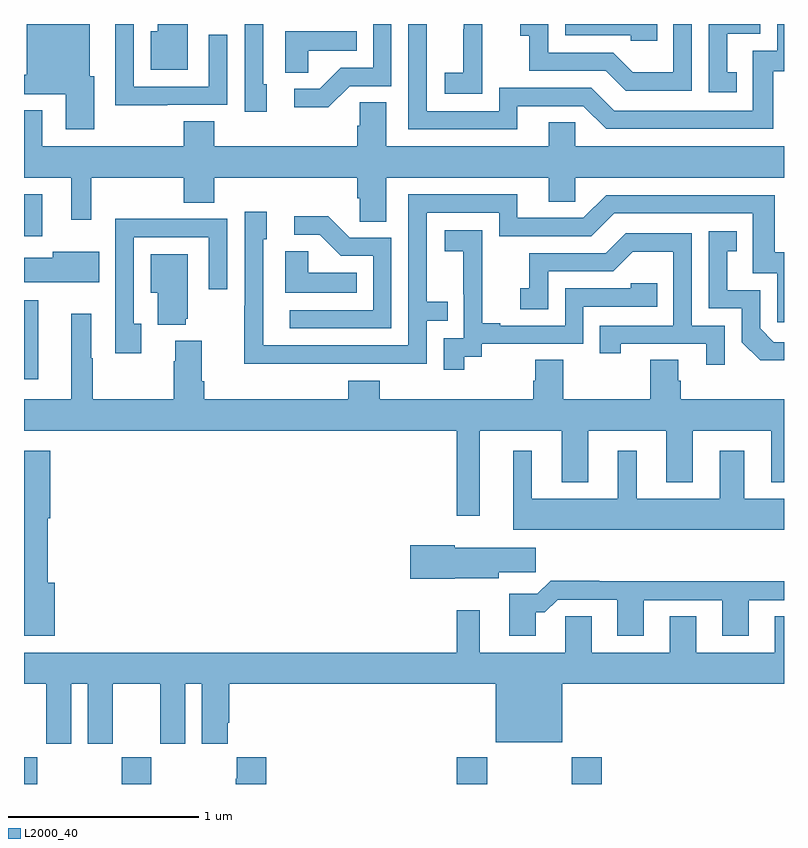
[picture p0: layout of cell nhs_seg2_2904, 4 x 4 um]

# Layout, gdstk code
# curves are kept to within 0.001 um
import gdstk
lib = gdstk.Library(unit=1e-6, precision=1e-09)
def R(c, l, rs):  # rectangles x0, y0, x1, y1
    for r in rs: c.add(gdstk.rectangle(r[:2], r[2:], *l))
def P(c, l, *ps):  # polygons
    for p in ps: c.add(gdstk.Polygon(p, *l))
L2000_40 = (2000, 40)

nhs_seg2_2904 = lib.new_cell('nhs_seg2_2904')
R(nhs_seg2_2904, L2000_40, [(263,621.8,263.07,621.94), (263.515,621.8,263.67,621.94), (265.277,621.8,265.437,621.94), (265.882,621.8,266.042,621.94), (263,623.931,263.074,624.346), (263,624.683,263.095,624.904)])
P(nhs_seg2_2904, L2000_40, [(266.75,625.545),(266.701,625.545),(266.701,625.749),(266.874,625.749),(266.874,625.8),(266.604,625.8),(266.604,625.44),(266.75,625.44)],
  [(263.863,625.8),(263.705,625.8),(263.705,625.762),(263.666,625.762),(263.666,625.559),(263.863,625.559)],
  [(266.333,625.8),(265.848,625.8),(265.848,625.74),(266.193,625.74),(266.193,625.713),(266.333,625.713)],
  [(265.413,625.639),(265.412,625.639),(265.412,625.8),(265.314,625.8),(265.314,625.772),(265.313,625.772),(265.313,625.543),(265.215,625.543),(265.215,625.433),(265.413,625.433)],
  [(266.514,625.8),(266.418,625.8),(266.418,625.546),(266.204,625.546),(266.1,625.65),(265.758,625.65),(265.758,625.8),(265.611,625.8),(265.611,625.739),(265.66,625.739),(265.66,625.554),(266.063,625.554),(266.168,625.449),(266.514,625.449)],
  [(265.597,625.368),(265.944,625.368),(266.064,625.248),(266.944,625.248),(266.944,625.551),(267,625.551),(267,625.8),(266.964,625.8),(266.964,625.659),(266.835,625.659),(266.835,625.344),(266.106,625.344),(265.986,625.464),(265.5,625.464),(265.5,625.341),(265.119,625.341),(265.119,625.8),(265.023,625.8),(265.023,625.245),(265.597,625.245)],
  [(263.371,625.524),(263.347,625.524),(263.347,625.8),(263.015,625.8),(263.015,625.532),(263,625.532),(263,625.431),(263.219,625.431),(263.219,625.245),(263.371,625.245)],
  [(263.753,625.374),(264.069,625.374),(264.069,625.744),(263.973,625.744),(263.973,625.47),(263.577,625.47),(263.577,625.8),(263.48,625.8),(263.48,625.624),(263.481,625.624),(263.481,625.373),(263.753,625.373)],
  [(264.714,625.473),(264.933,625.473),(264.933,625.8),(264.837,625.8),(264.837,625.569),(264.668,625.569),(264.557,625.458),(264.423,625.458),(264.423,625.361),(264.601,625.361)],
  [(264.277,625.482),(264.258,625.482),(264.258,625.8),(264.162,625.8),(264.162,625.338),(264.277,625.338)],
  [(264.495,625.658),(264.752,625.658),(264.752,625.762),(264.374,625.762),(264.374,625.543),(264.495,625.543)],
  [(264.907,624.992),(265.763,624.992),(265.763,624.865),(265.902,624.865),(265.902,624.992),(267,624.992),(267,625.156),(265.902,625.156),(265.902,625.283),(265.763,625.283),(265.763,625.156),(264.907,625.156),(264.907,625.388),(264.768,625.388),(264.768,625.265),(264.755,625.265),(264.755,625.156),(264.002,625.156),(264.002,625.289),(263.842,625.289),(263.842,625.156),(263.095,625.156),(263.095,625.346),(263,625.346),(263,624.992),(263.249,624.992),(263.249,624.771),(263.353,624.771),(263.353,624.992),(263.842,624.992),(263.842,624.859),(264.002,624.859),(264.002,624.992),(264.755,624.992),(264.755,624.883),(264.768,624.883),(264.768,624.76),(264.907,624.76)],
  [(264.623,624.012),(265.119,624.012),(265.119,624.237),(265.229,624.237),(265.229,624.338),(265.119,624.338),(265.119,624.807),(265.5,624.807),(265.5,624.684),(265.986,624.684),(266.106,624.804),(266.835,624.804),(266.835,624.489),(266.964,624.489),(266.964,624.231),(267,624.231),(267,624.598),(266.951,624.598),(266.951,624.9),(266.064,624.9),(265.944,624.78),(265.597,624.78),(265.597,624.903),(265.023,624.903),(265.023,624.108),(264.258,624.108),(264.258,624.666),(264.277,624.666),(264.277,624.811),(264.162,624.811),(264.162,624.317),(264.16,624.317),(264.16,624.011)],
  [(264.933,624.675),(264.714,624.675),(264.601,624.788),(264.423,624.788),(264.423,624.69),(264.557,624.69),(264.668,624.579),(264.837,624.579),(264.837,624.294),(264.399,624.294),(264.399,624.198),(264.933,624.198)],
  [(263.617,624.222),(263.577,624.222),(263.577,624.678),(263.973,624.678),(263.973,624.405),(264.069,624.405),(264.069,624.774),(263.753,624.774),(263.753,624.776),(263.481,624.776),(263.481,624.066),(263.617,624.066)],
  [(265.318,624.049),(265.41,624.049),(265.41,624.117),(265.944,624.117),(265.944,624.312),(266.333,624.312),(266.333,624.435),(266.193,624.435),(266.193,624.408),(265.848,624.408),(265.848,624.213),(265.507,624.213),(265.507,624.226),(265.412,624.226),(265.412,624.509),(265.413,624.509),(265.413,624.715),(265.215,624.715),(265.215,624.605),(265.313,624.605),(265.313,624.377),(265.314,624.377),(265.314,624.147),(265.209,624.147),(265.209,623.979),(265.318,623.979)],
  [(267,624.126),(266.946,624.126),(266.874,624.198),(266.874,624.399),(266.701,624.399),(266.701,624.603),(266.75,624.603),(266.75,624.709),(266.604,624.709),(266.604,624.303),(266.778,624.303),(266.778,624.126),(266.876,624.029),(267,624.029)],
  [(266.688,624.213),(266.514,624.213),(266.514,624.699),(266.168,624.699),(266.063,624.594),(265.66,624.594),(265.66,624.409),(265.611,624.409),(265.611,624.3),(265.758,624.3),(265.758,624.498),(266.1,624.498),(266.204,624.602),(266.418,624.602),(266.418,624.213),(266.029,624.213),(266.029,624.066),(266.14,624.066),(266.14,624.117),(266.591,624.117),(266.591,624.006),(266.688,624.006)],
  [(264.752,624.49),(264.495,624.49),(264.495,624.605),(264.374,624.605),(264.374,624.386),(264.752,624.386)],
  [(263.395,624.601),(263.15,624.601),(263.15,624.569),(263,624.569),(263,624.44),(263.395,624.44)],
  [(263.852,624.249),(263.863,624.249),(263.863,624.589),(263.666,624.589),(263.666,624.386),(263.705,624.386),(263.705,624.218),(263.852,624.218)],
  [(266.456,623.922),(266.443,623.922),(266.443,624.032),(266.296,624.032),(266.296,623.824),(265.839,623.824),(265.839,624.032),(265.691,624.032),(265.691,623.922),(265.679,623.922),(265.679,623.824),(264.872,623.824),(264.872,623.923),(264.707,623.923),(264.707,623.824),(263.948,623.824),(263.948,623.92),(263.935,623.92),(263.935,624.133),(263.795,624.133),(263.795,624.026),(263.788,624.026),(263.788,623.824),(263.363,623.824),(263.363,624.041),(263.353,624.041),(263.353,624.274),(263.249,624.274),(263.249,623.824),(263,623.824),(263,623.66),(265.278,623.66),(265.278,623.211),(265.399,623.211),(265.399,623.66),(265.829,623.66),(265.829,623.387),(265.969,623.387),(265.969,623.66),(266.381,623.66),(266.381,623.387),(266.521,623.387),(266.521,623.66),(266.933,623.66),(266.933,623.387),(267,623.387),(267,623.824),(266.456,623.824)],
  [(263.162,622.86),(263.125,622.86),(263.125,623.198),(263.138,623.198),(263.138,623.554),(263,623.554),(263,622.581),(263.162,622.581)],
  [(267,623.302),(266.791,623.302),(266.791,623.554),(266.663,623.554),(266.663,623.302),(266.224,623.302),(266.224,623.554),(266.126,623.554),(266.126,623.302),(265.672,623.302),(265.672,623.554),(265.574,623.554),(265.574,623.138),(267,623.138)],
  [(265.266,622.883),(265.498,622.883),(265.498,622.915),(265.693,622.915),(265.693,623.044),(265.266,623.044),(265.266,623.057),(265.032,623.057),(265.032,622.879),(265.266,622.879)],
  [(265.693,622.703),(265.742,622.703),(265.809,622.77),(266.123,622.77),(266.123,622.581),(266.263,622.581),(266.263,622.767),(266.675,622.767),(266.675,622.581),(266.815,622.581),(266.815,622.767),(267,622.767),(267,622.868),(266.027,622.868),(266.027,622.871),(265.772,622.871),(265.702,622.801),(265.553,622.801),(265.553,622.581),(265.693,622.581)],
  [(263,622.328),(263.117,622.328),(263.117,622.011),(263.248,622.011),(263.248,622.328),(263.336,622.328),(263.336,622.011),(263.467,622.011),(263.467,622.328),(263.717,622.328),(263.717,622.011),(263.848,622.011),(263.848,622.328),(263.936,622.328),(263.936,622.011),(264.073,622.011),(264.073,622.123),(264.08,622.123),(264.08,622.328),(265.484,622.328),(265.484,622.019),(265.834,622.019),(265.834,622.328),(267,622.328),(267,622.682),(266.951,622.682),(266.951,622.492),(266.539,622.492),(266.539,622.682),(266.399,622.682),(266.399,622.492),(265.987,622.492),(265.987,622.682),(265.848,622.682),(265.848,622.492),(265.399,622.492),(265.399,622.714),(265.278,622.714),(265.278,622.492),(263,622.492)],
  [(264.275,621.94),(264.119,621.94),(264.119,621.827),(264.115,621.827),(264.115,621.8),(264.275,621.8)])

lib.write_gds('nhs_seg2_2904.gds')
